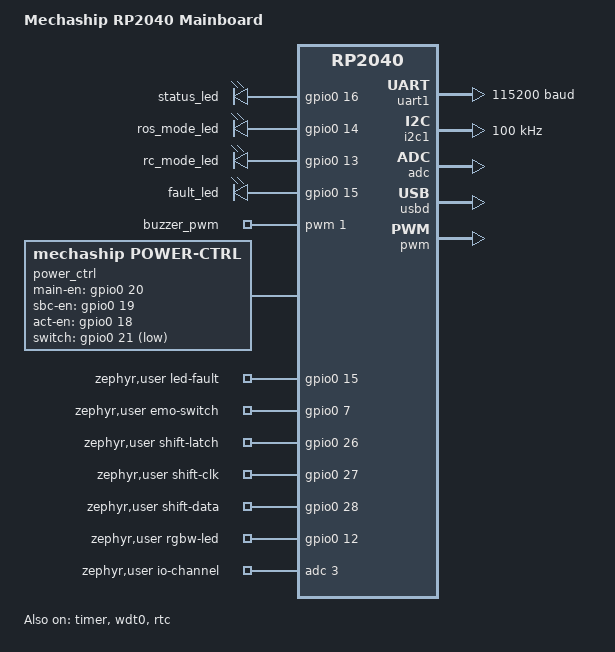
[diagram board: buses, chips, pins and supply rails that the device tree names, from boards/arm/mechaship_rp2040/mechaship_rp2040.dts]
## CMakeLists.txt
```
# Generated Cmake Pico project file

cmake_minimum_required(VERSION 3.13)

set(CMAKE_C_STANDARD 11)
set(CMAKE_CXX_STANDARD 17)
set(CMAKE_EXPORT_COMPILE_COMMANDS ON)

option(MECHASHIP_TEST_HELD_POWER_SWITCH "Ignore a held power switch during bench tests" OFF)
option(MECHASHIP_ESC_PROTECTION "Hold actuator outputs at zero during ESC startup" OFF)

# Initialise pico_sdk from installed location
# (note this can come from environment, CMake cache etc)

# == DO NOT EDIT THE FOLLOWING LINES for the Raspberry Pi Pico VS Code Extension to work ==
if(WIN32)
    set(USERHOME $ENV{USERPROFILE})
else()
    set(USERHOME $ENV{HOME})
endif()

set(sdkVersion 2.1.1)
set(toolchainVersion 14_2_Rel1)
set(picotoolVersion 2.1.1)
set(picoVscode ${USERHOME}/.pico-sdk/cmake/pico-vscode.cmake)

if(EXISTS ${picoVscode})
    include(${picoVscode})
endif()

# ====================================================================================
set(PICO_BOARD_HEADER_DIRS ${CMAKE_CURRENT_LIST_DIR}/include)
SET(PICO_BOARD mechaship_rev_2.0 CACHE STRING "Board type")
SET(CMAKE_C_FLAGS "${CMAKE_C_FLAGS} -ffunction-sections -fdata-sections")
SET(CMAKE_CXX_FLAGS "${CMAKE_CXX_FLAGS} -ffunction-sections -fdata-sections")

# Pull in Raspberry Pi Pico SDK (must be before project)
include(pico_sdk_import.cmake)
include(FreeRTOS_Kernel_import.cmake)
include(nanopb_import.cmake)

project(mechaship_fw C CXX ASM)

# Initialise the Raspberry Pi Pico SDK
pico_sdk_init()
link_directories(lib/libmicroros)

# SRC
add_subdirectory(src)

if(MECHASHIP_TEST_HELD_POWER_SWITCH)
    target_compile_definitions(mechaship_fw PRIVATE MECHASHIP_TEST_HELD_POWER_SWITCH=1)
endif()

if(MECHASHIP_ESC_PROTECTION)
    target_compile_definitions(mechaship_fw PRIVATE MECHASHIP_ESC_PROTECTION=1)
endif()

pico_set_program_name(mechaship_fw "mechaship_fw")
pico_set_program_version(mechaship_fw "0.1")

pico_enable_stdio_usb(mechaship_fw 0)
pico_enable_stdio_uart(mechaship_fw 0)
```

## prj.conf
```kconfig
# Logging (global defaults)
CONFIG_LOG=y
CONFIG_LOG_PRINTK=y
CONFIG_LOG_DEFAULT_LEVEL=3
CONFIG_LOG_PROCESS_THREAD_SLEEP_MS=50
CONFIG_REQUIRES_FLOAT_PRINTF=y

CONFIG_GPIO=y
CONFIG_I2C=y
CONFIG_ADC=y
CONFIG_PWM=y
```

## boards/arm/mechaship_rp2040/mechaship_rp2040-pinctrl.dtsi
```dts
/*
 * SPDX-License-Identifier: Apache-2.0
 */

#include <zephyr/dt-bindings/pinctrl/rpi-pico-rp2040-pinctrl.h>

&pinctrl {
	uart1_default: uart1_default {
		group1 {
			pinmux = <UART1_TX_P8>;
		};

		group2 {
			pinmux = <UART1_RX_P9>;
			input-enable;
		};
	};

	i2c1_default: i2c1_default {
		group1 {
			pinmux = <I2C1_SDA_P10>, <I2C1_SCL_P11>;
			input-enable;
			input-schmitt-enable;
		};
	};

	pwm_default: pwm_default {
		group1 {
			pinmux = <PWM_0B_P17>, <PWM_3A_P22>, <PWM_3B_P23>;
		};
	};

	adc_default: adc_default {
		group1 {
			pinmux = <ADC_CH3_P29>;
			input-enable;
		};
	};
};
```

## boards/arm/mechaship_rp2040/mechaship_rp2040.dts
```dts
/*
 * SPDX-License-Identifier: Apache-2.0
 */

/dts-v1/;

#include <freq.h>
#include <zephyr/dt-bindings/gpio/gpio.h>
#include <zephyr/dt-bindings/i2c/i2c.h>
#include <zephyr/dt-bindings/pwm/pwm.h>

#include <raspberrypi/rpi_pico/rp2040.dtsi>
#include "mechaship_rp2040-pinctrl.dtsi"

/ {
	model = "Mechaship RP2040 Mainboard";
	compatible = "mechaship,mechaship-rp2040";

	chosen {
		zephyr,sram = &sram0;
		zephyr,flash = &flash0;
		zephyr,flash-controller = &ssi;
		zephyr,console = &uart1;
		zephyr,shell-uart = &uart1;
		zephyr,code-partition = &code_partition;
	};

	aliases {
		rtc = &rtc;
		watchdog0 = &wdt0;
	};

	leds {
		compatible = "gpio-leds";

		status_led: status_led {
			gpios = <&gpio0 16 GPIO_ACTIVE_HIGH>;
		};

		ros_mode_led: ros_mode_led {
			gpios = <&gpio0 14 GPIO_ACTIVE_HIGH>;
		};

		rc_mode_led: rc_mode_led {
			gpios = <&gpio0 13 GPIO_ACTIVE_HIGH>;
		};

		fault_led: fault_led {
			gpios = <&gpio0 15 GPIO_ACTIVE_HIGH>;
		};
	};

	pwms {
		compatible = "pwm-leds";
		status = "okay";

		buzzer_pwm: buzzer_pwm {
			pwms = <&pwm 1 PWM_HZ(1000) PWM_POLARITY_NORMAL>;
		};
	};

	power_ctrl: power_ctrl {
		compatible = "mechaship,power-ctrl";
		
		main-en-gpios = <&gpio0 20 GPIO_ACTIVE_HIGH>;
		sbc-en-gpios = <&gpio0 19 GPIO_ACTIVE_HIGH>;
		act-en-gpios = <&gpio0 18 GPIO_ACTIVE_HIGH>;
		switch-gpios = <&gpio0 21 GPIO_ACTIVE_LOW>;
	};

	actuators: actuators {
		compatible = "mechaship,actuators";

		key: key {
			compatible = "mechaship,actuator-key";

			pwms = <&pwm 6 PWM_HZ(50) PWM_POLARITY_NORMAL>;
			pulse-0-degree-us = <500>;
			pulse-180-degree-us = <2500>;
		};

		thruster: thruster {
			compatible = "mechaship,actuator-thruster";

			pwms = <&pwm 7 PWM_HZ(50) PWM_POLARITY_NORMAL>;
			pulse-0-percent-us = <1500>;
			pulse-100-percent-us = <1900>;
		};
	};

	rc_4ch_receiver: rc_4ch_receiver {
		compatible = "mechaship,fs-r4p-rp2040";
		status = "okay";
		pio = <&pio1>;
		#address-cells = <1>;
		#size-cells = <0>;

		channel@0 {
			reg = <0>;
			function = "steering";
			input-gpios = <&gpio0 3 GPIO_ACTIVE_HIGH>;

			min-pulse-us = <1000>;
			mid-pulse-us = <1500>;
			max-pulse-us = <2000>;
			pulse-margin-us = <0>;
		};

		channel@1 {
			reg = <1>;
			function = "throttle";
			input-gpios = <&gpio0 4 GPIO_ACTIVE_HIGH>;

			min-pulse-us = <1000>;
			mid-pulse-us = <1500>;
			max-pulse-us = <2000>;
			pulse-margin-us = <0>;
		};

		channel@2 {
			reg = <2>;
			function = "aux1";
			input-gpios = <&gpio0 5 GPIO_ACTIVE_HIGH>;

			min-pulse-us = <1000>;
			mid-pulse-us = <1500>;
			max-pulse-us = <2000>;
			pulse-margin-us = <10>;
		};

		channel@3 {
			reg = <3>;
			function = "switch";
			input-gpios = <&gpio0 6 GPIO_ACTIVE_HIGH>;

			default-pulse-us = <1000>;
			clicked-pulse-us = <2000>;
			pulse-margin-us = <20>;
		};
	};

	zephyr,user {
		debug-uart = <&uart1>;
		debug-baudrate = <115200>;

		led-fault-gpios = <&gpio0 15 GPIO_ACTIVE_HIGH>;

		emo-switch-gpios = <&gpio0 7 GPIO_ACTIVE_HIGH>;

		shift-latch-gpios = <&gpio0 26 GPIO_ACTIVE_HIGH>;
		shift-clk-gpios = <&gpio0 27 GPIO_ACTIVE_HIGH>;
		shift-data-gpios = <&gpio0 28 GPIO_ACTIVE_HIGH>;

		lcd-i2c = <&i2c1>;
		lcd-addr = <0x27>;

		io-channels = <&adc 3>;
		battery-cell-count = <3>;
		battery-total-low-alert-mv = <9300>;
		battery-divider-milli = <4300>;

		rgbw-led-gpios = <&gpio0 12 GPIO_ACTIVE_HIGH>;
		rgbw-led-pixel-count = <9>;
	};
};

&flash0 {
	reg = <0x10000000 DT_SIZE_M(16)>;

	partitions {
		compatible = "fixed-partitions";
		#address-cells = <1>;
		#size-cells = <1>;

		second_stage_bootloader: partition@0 {
			label = "second_stage_bootloader";
			reg = <0x00000000 0x100>;
			read-only;
		};

		code_partition: partition@100 {
			label = "code-partition";
			reg = <0x100 (DT_SIZE_M(16) - 0x100)>;
			read-only;
		};
	};
};

&uart0 {
	status = "disabled";
};

&uart1 {
	current-speed = <115200>;
	status = "okay";
	pinctrl-0 = <&uart1_default>;
	pinctrl-names = "default";
};

&gpio0 {
	status = "okay";
};

&i2c0 {
	status = "disabled";
};

&i2c1 {
	clock-frequency = <I2C_BITRATE_STANDARD>;
	status = "okay";
	pinctrl-0 = <&i2c1_default>;
	pinctrl-names = "default";
};

&spi0 {
	status = "disabled";
};

&timer {
	status = "okay";
};

&wdt0 {
	status = "okay";
};

&rtc {
	clocks = <&clocks RPI_PICO_CLKID_CLK_RTC>;
	status = "okay";
};

&adc {
	status = "okay";
	pinctrl-0 = <&adc_default>;
	pinctrl-names = "default";
};

zephyr_udc0: &usbd {
	status = "okay";
};

&pwm {
	status = "okay";
	pinctrl-0 = <&pwm_default>;
	pinctrl-names = "default";
};

&vreg {
	regulator-always-on;
	regulator-allowed-modes = <REGULATOR_RPI_PICO_MODE_NORMAL>;
};

&pio1 {
	status = "okay";
};
```

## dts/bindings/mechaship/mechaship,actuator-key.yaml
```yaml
description: Mechaship key actuator configuration

compatible: "mechaship,actuator-key"

properties:
  pwms:
    type: phandle-array
    required: true
    description: PWM output used to drive the key servo.

  pulse-0-degree-us:
    type: int
    required: true
    description: Pulse width in microseconds for the key servo 0 degree position.

  pulse-180-degree-us:
    type: int
    required: true
    description: Pulse width in microseconds for the key servo 180 degree position.
```

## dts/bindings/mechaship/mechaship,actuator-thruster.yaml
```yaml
description: Mechaship thruster actuator configuration

compatible: "mechaship,actuator-thruster"

properties:
  pwms:
    type: phandle-array
    required: true
    description: PWM output used to drive the thruster ESC.

  pulse-0-percent-us:
    type: int
    required: true
    description: Pulse width in microseconds for the thruster neutral 0 percent position.

  pulse-100-percent-us:
    type: int
    required: true
    description: Pulse width in microseconds for the thruster 100 percent position.
```

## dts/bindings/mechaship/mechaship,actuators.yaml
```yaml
description: Mechaship actuator container

compatible: "mechaship,actuators"
```

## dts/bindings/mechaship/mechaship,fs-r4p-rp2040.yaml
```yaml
description: Mechaship 4-channel RC PWM receiver configuration using RP2040 PIO

compatible: "mechaship,fs-r4p-rp2040"

properties:
  pio:
    type: phandle
    required: true
    description: PIO controller used to sample the RC input channels.

child-binding:
  description: RC receiver channel configuration

  properties:
    reg:
      type: int
      required: true
      description: Logical channel index used by the receiver driver.

    function:
      type: string
      required: true
      enum:
        - throttle
        - steering
        - aux1
        - switch
      description: Semantic role assigned to this RC channel.

    input-gpios:
      type: phandle-array
      required: true
      description: GPIO input connected to this RC channel signal.

    min-pulse-us:
      type: int
      description: Minimum valid pulse width in microseconds for analog-style channels.

    mid-pulse-us:
      type: int
      description: Center pulse width in microseconds for analog-style channels.

    max-pulse-us:
      type: int
      description: Maximum valid pulse width in microseconds for analog-style channels.

    default-pulse-us:
      type: int
      description: Default pulse width in microseconds for discrete switch-style channels.

    clicked-pulse-us:
      type: int
      description: Active pulse width in microseconds for discrete switch-style channels.

    pulse-margin-us:
      type: int
      required: true
      description: Allowed pulse width tolerance in microseconds.
```

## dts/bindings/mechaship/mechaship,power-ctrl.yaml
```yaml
description: Mechaship power control GPIOs

compatible: "mechaship,power-ctrl"

properties:
  main-en-gpios:
    type: phandle-array
    required: true
    description: GPIO used to enable main power.

  sbc-en-gpios:
    type: phandle-array
    required: true
    description: GPIO used to enable SBC power.

  act-en-gpios:
    type: phandle-array
    required: true
    description: GPIO used to enable actuator power.

  switch-gpios:
    type: phandle-array
    required: true
    description: GPIO connected to the power switch input.
```

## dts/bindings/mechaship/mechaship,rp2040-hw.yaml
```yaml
description: Mechaship RP2040 hardware mapping
compatible: "mechaship,rp2040-hw"

properties:
  debug-uart:
    type: phandle
    required: true

  debug-baudrate:
    type: int
    required: true

  led-status-gpios:
    type: phandle-array
    required: true

  led-ros-mode-gpios:
    type: phandle-array
    required: true

  led-rc-mode-gpios:
    type: phandle-array
    required: true

  led-fault-gpios:
    type: phandle-array
    required: true

  emo-switch-gpios:
    type: phandle-array
    required: true

  power-main-en-gpios:
    type: phandle-array
    required: true

  power-sbc-en-gpios:
    type: phandle-array
    required: true

  power-act-en-gpios:
    type: phandle-array
    required: true

  switch-power-gpios:
    type: phandle-array
    required: true

  shift-latch-gpios:
    type: phandle-array
    required: true

  shift-clk-gpios:
    type: phandle-array
    required: true

  shift-data-gpios:
    type: phandle-array
    required: true

  lcd-i2c:
    type: phandle
    required: true

  lcd-addr:
    type: int
    required: true

  io-channels:
    type: phandle-array
    required: true

  battery-cell-count:
    type: int
    required: true

  battery-total-low-alert-mv:
    type: int
    required: true

  battery-divider-milli:
    type: int
    required: true

  piezo-pwms:
    type: phandle-array
    required: true

  servo-pwms:
    type: phandle-array
    required: true

  esc-pwms:
    type: phandle-array
    required: true

  rgbw-led-gpios:
    type: phandle-array
    required: true

  rgbw-led-pixel-count:
    type: int
    required: true

  rc-pio-id:
    type: int
    required: true

  rc-ch1-gpios:
    type: phandle-array
    required: true

  rc-ch2-gpios:
    type: phandle-array
    required: true

  rc-ch3-gpios:
    type: phandle-array
    required: true

  rc-ch4-gpios:
    type: phandle-array
    required: true

  rc-throttle-pulse-margin:
    type: int
    required: true

  rc-throttle-max-pulse:
    type: int
    required: true

  rc-throttle-min-pulse:
    type: int
    required: true

  rc-throttle-middle:
    type: int
    required: true

  rc-key-pulse-margin:
    type: int
    required: true

  rc-key-max-pulse:
    type: int
    required: true

  rc-key-min-pulse:
    type: int
    required: true

  rc-key-middle:
    type: int
    required: true

  rc-ch3-max-pulse:
    type: int
    required: true

  rc-ch3-min-pulse:
    type: int
    required: true

  rc-ch3-middle:
    type: int
    required: true

  rc-ch4-default-pulse:
    type: int
    required: true

  rc-ch4-clicked-pulse:
    type: int
    required: true
```

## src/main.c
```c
#include "app/app.h"
#include "hw/hw.h"
#include "hw/driver/power/power.h"
#include "mw/mw.h"

int main(void) {
  if (!hw_init()) return 1;

  app_start_sequence();

  if (!mw_init() || !app_init()) {
    power_set_sbc(false);
    power_set_main(false);
  }

  app_main();

  return 0;
}
```

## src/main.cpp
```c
#include <stdbool.h>
#include <stddef.h>
#include <stdlib.h>
#include <string.h>

#include <Arduino.h>
#include <HardwareSerial.h>

#include <micro_ros_platformio.h>

#include <rcl/rcl.h>
#include <rclc/executor.h>
#include <rclc/rclc.h>

#include <rmw_microros/rmw_microros.h>

// topic message
#include <sensor_msgs/msg/imu.h>
#include <sensor_msgs/msg/joint_state.h>
#include <sensor_msgs/msg/magnetic_field.h>
#include <sensor_msgs/msg/nav_sat_fix.h>
#include <std_msgs/msg/bool.h>

// service message
#include <mechaship_interfaces/srv/battery.h>
#include <mechaship_interfaces/srv/key.h>
#include <mechaship_interfaces/srv/rgb_color.h>
#include <mechaship_interfaces/srv/throttle_percentage.h>
#include <mechaship_interfaces/srv/throttle_pulse_width.h>
#include <std_srvs/srv/trigger.h>

#include "bsp/bsp.h"
#include "modules/include/modules.h"

#include "hw.h"
#include "supporter.h"

static HardwareSerial *s_serial;

static rcl_allocator_t s_allocator;
static rclc_support_t s_support;
static rclc_executor_t s_executor;

static rcl_node_t s_node;

static rcl_timer_t s_gy87_timer_h;
static rcl_timer_t s_gps_timer_get_h;
static rcl_timer_t s_gps_timer_send_h;
static rcl_timer_t s_joint_state_timer_send_h;

static rcl_publisher_t s_gy87_publisher_imu_h;        // gy87 imu(자이로+가속도)
static rcl_publisher_t s_gy87_publisher_mag_h;        // gy87 지자기
static rcl_publisher_t s_gps_publisher_h;             // gps
static rcl_publisher_t s_joint_state_publisher_key_h; // 키 joint state
static rcl_publisher_t s_emo_publisher_h;             // EMO

static std_msgs__msg__Bool s_emo_msg;

static rcl_service_t s_gy87_service_offset_calibration_h;
static std_srvs__srv__Trigger_Request s_gy87_service_offset_calibration_req;
static std_srvs__srv__Trigger_Response s_gy87_service_offset_calibration_res;

static rcl_service_t s_battery_service_get_data_h;
static mechaship_interfaces__srv__Battery_Request s_battery_service_get_data_req;
static mechaship_interfaces__srv__Battery_Response s_battery_service_get_data_res;

static rcl_service_t s_throttle_service_set_percentage_h;
static mechaship_interfaces__srv__ThrottlePercentage_Request s_throttle_service_set_percentage_req;
static mechaship_interfaces__srv__ThrottlePercentage_Response s_throttle_service_set_percentage_res;

static rcl_service_t s_throttle_service_set_pulse_width_h;
static mechaship_interfaces__srv__ThrottlePulseWidth_Request s_throttle_service_set_pulse_width_req;
static mechaship_interfaces__srv__ThrottlePulseWidth_Response s_throttle_service_set_pulse_width_res;

static rcl_service_t s_key_service_set_h;
static mechaship_interfaces__srv__Key_Request s_key_service_set_req;
static mechaship_interfaces__srv__Key_Response s_key_service_set_res;

static rcl_service_t s_rgb_service_set_h;
static mechaship_interfaces__srv__RGBColor_Request s_rgb_service_set_req;
static mechaship_interfaces__srv__RGBColor_Response s_rgb_service_set_res;

bsp_throttle_handle_t throttle_h;
bsp_key_handle_t key_h;
bsp_neopixel_handler_t neopixel_h;

UART Serial2(8, 9, NC, NC);

typedef enum {
  WAITING_AGENT,
  AGENT_AVAILABLE,
  AGENT_CONNECTED,
  AGENT_DISCONNECTED
} state_t;
static state_t s_state;

static bool s_create_entities(void) {
  s_allocator = rcl_get_default_allocator();
  RCCHECK(rclc_support_init(&s_support, 0, NULL, &s_allocator));

  size_t executor_cnt = 0;

  s_node = rcl_get_zero_initialized_node();
  rcl_node_options_t node_ops = rcl_node_get_default_options();
  node_ops.domain_id = HW_CFG_ROS_DOMAIN_ID;
  RCCHECK(rclc_node_init_with_options(&s_node, "mechaship_mcu_driver", "", &s_support, &node_ops));

  // gy87 publisher
  RCCHECK(rclc_publisher_init_best_effort(&s_gy87_publisher_imu_h, &s_node,
                                          ROSIDL_GET_MSG_TYPE_SUPPORT(sensor_msgs, msg, Imu), "imu/data_raw"));
  RCCHECK(rclc_publisher_init_best_effort(&s_gy87_publisher_mag_h, &s_node,
                                          ROSIDL_GET_MSG_TYPE_SUPPORT(sensor_msgs, msg, MagneticField), "imu/mag"));
  RCCHECK(rclc_timer_init_default(&s_gy87_timer_h, &s_support, RCL_MS_TO_NS(10), gy87_timer_callback));
  executor_cnt++;

  // gps publisher
  RCCHECK(rclc_publisher_init_best_effort(&s_gps_publisher_h, &s_node,
                                          ROSIDL_GET_MSG_TYPE_SUPPORT(sensor_msgs, msg, NavSatFix), "gps/data"));
  RCCHECK(rclc_timer_init_default(&s_gps_timer_get_h, &s_support, RCL_MS_TO_NS(100), gps_timer_get_callback));
  executor_cnt++;
  RCCHECK(rclc_timer_init_default(&s_gps_timer_send_h, &s_support, RCL_MS_TO_NS(500), gps_timer_send_callback));
  executor_cnt++;

  // joint state publisher
  RCCHECK(rclc_publisher_init_default(&s_joint_state_publisher_key_h, &s_node,
                                      ROSIDL_GET_MSG_TYPE_SUPPORT(sensor_msgs, msg, JointState), "joint_states"));
  RCCHECK(rclc_timer_init_default(&s_joint_state_timer_send_h, &s_support, RCL_MS_TO_NS(100), joint_state_timer_send_callback));
  executor_cnt++;

  // EMO publisher
  RCCHECK(rclc_publisher_init_default(&s_emo_publisher_h, &s_node,
                                      ROSIDL_GET_MSG_TYPE_SUPPORT(std_msgs, msg, Bool), "emo_event"));

  // gy87 service
  RCCHECK(rclc_service_init_default(&s_gy87_service_offset_calibration_h, &s_node,
                                    ROSIDL_GET_SRV_TYPE_SUPPORT(std_srvs, srv, Trigger), "imu/offset_calibration"));
  executor_cnt++;

  // battery service
  RCCHECK(rclc_service_init_default(&s_battery_service_get_data_h, &s_node,
                                    ROSIDL_GET_SRV_TYPE_SUPPORT(mechaship_interfaces, srv, Battery), "battery/get_data"));
  executor_cnt++;

  // throttle service
  RCCHECK(rclc_service_init_default(&s_throttle_service_set_percentage_h, &s_node,
                                    ROSIDL_GET_SRV_TYPE_SUPPORT(mechaship_interfaces, srv, ThrottlePercentage), "actuators/throttle/set_percentage"));
  executor_cnt++;
  RCCHECK(rclc_service_init_default(&s_throttle_service_set_pulse_width_h, &s_node,
                                    ROSIDL_GET_SRV_TYPE_SUPPORT(mechaship_interfaces, srv, ThrottlePulseWidth), "actuators/throttle/set_pulse_width"));
  executor_cnt++;

  // key service
  RCCHECK(rclc_service_init_default(&s_key_service_set_h, &s_node,
                                    ROSIDL_GET_SRV_TYPE_SUPPORT(mechaship_interfaces, srv, Key), "actuators/key/set"));
  executor_cnt++;

  // rgb color service
  RCCHECK(rclc_service_init_default(&s_rgb_service_set_h, &s_node,
                                    ROSIDL_GET_SRV_TYPE_SUPPORT(mechaship_interfaces, srv, RGBColor), "rgbled/set"));
  executor_cnt++;

  // excutor
  RCCHECK(rclc_executor_init(&s_executor, &s_support.context, executor_cnt, &s_allocator));
  RCCHECK(rclc_executor_add_timer(&s_executor, &s_gy87_timer_h));
  RCCHECK(rclc_executor_add_timer(&s_executor, &s_gps_timer_get_h));
  RCCHECK(rclc_executor_add_timer(&s_executor, &s_gps_timer_send_h));
  RCCHECK(rclc_executor_add_timer(&s_executor, &s_joint_state_timer_send_h));
  RCCHECK(rclc_executor_add_service(&s_executor, &s_gy87_service_offset_calibration_h,
                                    &s_gy87_service_offset_calibration_req, &s_gy87_service_offset_calibration_res,
                                    gy98_service_offset_calibration_callback));
  RCCHECK(rclc_executor_add_service(&s_executor, &s_battery_service_get_data_h,
                                    &s_battery_service_get_data_req, &s_battery_service_get_data_res,
                                    battery_service_get_data_callback));
  RCCHECK(rclc_executor_add_service(&s_executor, &s_throttle_service_set_percentage_h,
                                    &s_throttle_service_set_percentage_req, &s_throttle_service_set_percentage_res,
                                    throttle_service_set_percentage_callback));
  RCCHECK(rclc_executor_add_service(&s_executor, &s_throttle_service_set_pulse_width_h,
                                    &s_throttle_service_set_pulse_width_req, &s_throttle_service_set_pulse_width_res,
                                    throttle_service_set_pulse_width_callback));
  RCCHECK(rclc_executor_add_service(&s_executor, &s_key_service_set_h,
                                    &s_key_service_set_req, &s_key_service_set_res,
                                    key_service_set_callback));
  RCCHECK(rclc_executor_add_service(&s_executor, &s_rgb_service_set_h,
                                    &s_rgb_service_set_req, &s_rgb_service_set_res,
                                    rgb_service_set_callback));

  return true;
}

static void s_destroy_entities(void) {
  rmw_context_t *rmw_context = rcl_context_get_rmw_context(&s_support.context);
  (void)rmw_uros_set_context_entity_destroy_session_timeout(rmw_context, 0);

  // gy87 publisher
  RCCHECK(rcl_timer_fini(&s_gy87_timer_h));
  RCCHECK(rcl_publisher_fini(&s_gy87_publisher_imu_h, &s_node));
  RCCHECK(rcl_publisher_fini(&s_gy87_publisher_mag_h, &s_node));

  // gps publisher
  RCCHECK(rcl_timer_fini(&s_gps_timer_get_h));
  RCCHECK(rcl_timer_fini(&s_gps_timer_send_h));
  RCCHECK(rcl_publisher_fini(&s_gps_publisher_h, &s_node));

  // joint state publisher
  RCCHECK(rcl_timer_fini(&s_joint_state_timer_send_h));
  RCCHECK(rcl_publisher_fini(&s_joint_state_publisher_key_h, &s_node));

  // EMO publisher
  RCCHECK(rcl_publisher_fini(&s_emo_publisher_h, &s_node));

  // gy87 service
  RCCHECK(rcl_service_fini(&s_gy87_service_offset_calibration_h, &s_node));

  // battery service
  RCCHECK(rcl_service_fini(&s_battery_service_get_data_h, &s_node));

  // throttle service
  RCCHECK(rcl_service_fini(&s_throttle_service_set_percentage_h, &s_node));
  RCCHECK(rcl_service_fini(&s_throttle_service_set_pulse_width_h, &s_node));

  // key service
  RCCHECK(rcl_service_fini(&s_key_service_set_h, &s_node));

  // rgb color service
  RCCHECK(rcl_service_fini(&s_rgb_service_set_h, &s_node));

  rclc_executor_fini(&s_executor);
  RCCHECK(rcl_node_fini(&s_node));
  rclc_support_fini(&s_support);
}

static void s_monitor_status() {
  bool is_emo = digitalRead(HW_PIN_EMO);
  bool is_agent = s_state == AGENT_CONNECTED;

  static bool is_emo_last = false;
  static bool is_agent_last = true;
  static unsigned long nxt_blink_time = 0;
  static bool toggle = false;
  if (is_emo != is_emo_last || is_agent != is_agent_last) {
    if (is_emo == true && is_emo != is_emo_last) {
      HW_SERIAL_DEBUG.println("[\"s_monitor_status\"]EMO Pressed!");
      bsp_throttle_set_emo(&throttle_h);
      bsp_key_set_emo(&key_h);
      s_emo_msg.data = true;
      rcl_publish(&s_emo_publisher_h, &s_emo_msg, NULL);
    } else if (is_emo != is_emo_last) {
      HW_SERIAL_DEBUG.println("[\"s_monitor_status\"]EMO Released!");
      bsp_throttle_reset_emo(&throttle_h);
      bsp_key_reset_emo(&key_h);
      bsp_neopixel_set(&neopixel_h, 0, 0, 0, 0);
      digitalWrite(HW_PIN_STATUS_LED, HIGH);
      s_emo_msg.data = false;
      rcl_publish(&s_emo_publisher_h, &s_emo_msg, NULL);
    }
    if (is_agent == true && is_agent != is_agent_last) {
      HW_SERIAL_DEBUG.println("[\"s_monitor_status\"]Agent Connected!");
      bsp_neopixel_set(&neopixel_h, 0, 0, 0, 0);
      digitalWrite(HW_PIN_STATUS_LED, HIGH);
    } else if (is_agent != is_agent_last) {
      HW_SERIAL_DEBUG.println("[\"s_monitor_status\"]Agent Disconnected!");
    }
    nxt_blink_time = 0;
    toggle = false;
    is_emo_last = is_emo;
    is_agent_last = is_agent;
  }

  if (nxt_blink_time <= millis()) {
    if (is_emo == true) {
      bsp_neopixel_set(&neopixel_h, ((toggle = !toggle) == true) ? 255 : 0, 0, 0, 0);
      digitalWrite(HW_PIN_STATUS_LED, (toggle == true) ? HIGH : LOW);
      nxt_blink_time = millis() + 500;
      return;
    }
    if (is_agent == false) {
      bsp_neopixel_set(&neopixel_h, ((toggle = !toggle) == true) ? 255 : 0, (toggle == true) ? 100 : 0, 0, 0);
      digitalWrite(HW_PIN_STATUS_LED, (toggle == true) ? HIGH : LOW);
      nxt_blink_time = millis() + 1000;
      return;
    }
  }
  return;
}

void setup() {
  digitalWrite(HW_PIN_RESET, HIGH);

  HW_SERIAL_DEBUG.begin(115200);

  // neopixel init
  neopixel_h.pin_num = HW_PIN_NEOPIXEL;
  neopixel_h.pixel_cnt = HW_CFG_NEOPIXEL_PIXEL_CNT;
  bsp_neopixel_init(&neopixel_h);
  bsp_neopixel_set(&neopixel_h, 255, 100, 0, 0);

  // microros serial init
  HW_SERIAL_MICROROS.begin(115200);
  set_microros_serial_transports(HW_SERIAL_MICROROS);

  // gps init
  bsp_gps_config_t gps_config = {
      .serial = &HW_SERIAL_GPS,
      .baudrate = 9600,
      .pin_status_led = HW_PIN_GPS_STATUS_LED,
  };
  bsp_gps_init(&gps_config);

  // battery init
  bsp_battery_conf_t battery_conf = {
      .pin_adc = HW_PIN_BATTERY,
      .pin_20p_led = HW_PIN_BATTERY_20P_LED,
      .pin_40p_led = HW_PIN_BATTERY_40P_LED,
      .pin_60p_led = HW_PIN_BATTERY_60P_LED,
      .pin_80p_led = HW_PIN_BATTERY_80P_LED,
      .adc_resolution = 12,
      .adc_voltage_max = 3.3,
      .max_voltage = 2.9,
      .min_voltage = 2,
  };
  ERRCHECK(bsp_battery_init(&battery_conf));

  // throttle init
  throttle_h.pin_num = HW_PIN_THROTTLE;
  throttle_h.min_pwr_pulse_width = 1500;
  throttle_h.max_pwr_pulse_width = 2000;
  bsp_throttle_init(&throttle_h);
  bsp_throttle_set_by_percentage(&throttle_h, 0);

  // key init
  key_h.pin_num = HW_PIN_KEY;
  bsp_key_init(&key_h);
  bsp_key_set(&key_h, 90);

  // gy-87 init
  ERRCHECK(bsp_gy87_init());
  ERRCHECK(bsp_gy87_set_offset_auto());

  gy87_timer_callback_init(&s_gy87_publisher_imu_h, &s_gy87_publisher_mag_h);
  gps_timer_callback_init(&s_gps_publisher_h);
  joint_state_timer_callback_init(&s_joint_state_publisher_key_h, &key_h);

  pinMode(HW_PIN_STATUS_LED, OUTPUT);
  digitalWrite(HW_PIN_STATUS_LED, LOW);
  pinMode(HW_PIN_EMO, INPUT_PULLUP);

  s_state = WAITING_AGENT;

  bsp_neopixel_set(&neopixel_h, 0, 0, 0, 0);
}

void loop() {
  switch (s_state) {
  case WAITING_AGENT:
    EXECUTE_EVERY_N_MS(500, s_state = (RMW_RET_OK == rmw_uros_ping_agent(100, 1)) ? AGENT_AVAILABLE : WAITING_AGENT;);
    break;
  case AGENT_AVAILABLE:
    s_state = (true == s_create_entities()) ? AGENT_CONNECTED : WAITING_AGENT;
    if (s_state == WAITING_AGENT) {
      s_destroy_entities();
    };
    break;
  case AGENT_CONNECTED:
    EXECUTE_EVERY_N_MS(200, s_state = (RMW_RET_OK == rmw_uros_ping_agent(100, 1)) ? AGENT_CONNECTED : AGENT_DISCONNECTED;);
    if (s_state == AGENT_CONNECTED) {
      rclc_executor_spin_some(&s_executor, RCL_MS_TO_NS(100));
    }
    break;
  case AGENT_DISCONNECTED:
    s_destroy_entities();
    s_state = WAITING_AGENT;
    break;
  default:
    break;
  }

  s_monitor_status();

  EXECUTE_EVERY_N_MS(1000, bsp_battery_update_led());
}
```

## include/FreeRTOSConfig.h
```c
/*
 * FreeRTOS V202212.00
 * Copyright (C) 2020 Amazon.com, Inc. or its affiliates.  All Rights Reserved.
 *
 * Permission is hereby granted, free of charge, to any person obtaining a copy of
 * this software and associated documentation files (the "Software"), to deal in
 * the Software without restriction, including without limitation the rights to
 * use, copy, modify, merge, publish, distribute, sublicense, and/or sell copies of
 * the Software, and to permit persons to whom the Software is furnished to do so,
 * subject to the following conditions:
 *
 * The above copyright notice and this permission notice shall be included in all
 * copies or substantial portions of the Software.
 *
 * THE SOFTWARE IS PROVIDED "AS IS", WITHOUT WARRANTY OF ANY KIND, EXPRESS OR
 * IMPLIED, INCLUDING BUT NOT LIMITED TO THE WARRANTIES OF MERCHANTABILITY, FITNESS
 * FOR A PARTICULAR PURPOSE AND NONINFRINGEMENT. IN NO EVENT SHALL THE AUTHORS OR
 * COPYRIGHT HOLDERS BE LIABLE FOR ANY CLAIM, DAMAGES OR OTHER LIABILITY, WHETHER
 * IN AN ACTION OF CONTRACT, TORT OR OTHERWISE, ARISING FROM, OUT OF OR IN
 * CONNECTION WITH THE SOFTWARE OR THE USE OR OTHER DEALINGS IN THE SOFTWARE.
 *
 * https://www.FreeRTOS.org
 * https://github.com/FreeRTOS
 *
 */

#ifndef FREERTOS_CONFIG_H
#define FREERTOS_CONFIG_H

/*-----------------------------------------------------------
 * Application specific definitions.
 *
 * These definitions should be adjusted for your particular hardware and
 * application requirements.
 *
 * THESE PARAMETERS ARE DESCRIBED WITHIN THE 'CONFIGURATION' SECTION OF THE
 * FreeRTOS API DOCUMENTATION AVAILABLE ON THE FreeRTOS.org WEB SITE.
 *
 * See http://www.freertos.org/a00110.html
 *----------------------------------------------------------*/

/* Scheduler Related */
#define configUSE_PREEMPTION 1
#define configUSE_TICKLESS_IDLE 0
#define configUSE_IDLE_HOOK 0
#define configUSE_TICK_HOOK 0
#define configTICK_RATE_HZ ((TickType_t)1000)
#define configMAX_PRIORITIES 32
#define configEVENT_TASK_PRIORITIES 20
#define configIDLE_TASK_PRIORITIES 5
#define configMINIMAL_STACK_SIZE (configSTACK_DEPTH_TYPE)256
#define configUSE_16_BIT_TICKS 0

#define configIDLE_SHOULD_YIELD 1

/* Synchronization Related */
#define configUSE_MUTEXES 1
#define configUSE_RECURSIVE_MUTEXES 1
#define configUSE_APPLICATION_TASK_TAG 0
#define configUSE_COUNTING_SEMAPHORES 1
#define configQUEUE_REGISTRY_SIZE 8
#define configUSE_QUEUE_SETS 1
#define configUSE_TIME_SLICING 1
#define configUSE_NEWLIB_REENTRANT 0
#define configENABLE_BACKWARD_COMPATIBILITY 1
#define configNUM_THREAD_LOCAL_STORAGE_POINTERS 5

/* System */
#define configSTACK_DEPTH_TYPE uint32_t
#define configMESSAGE_BUFFER_LENGTH_TYPE size_t

/* Memory allocation related definitions. */
#define configSUPPORT_STATIC_ALLOCATION 1
#define configSUPPORT_DYNAMIC_ALLOCATION 0
#define configAPPLICATION_ALLOCATED_HEAP 0

/* Hook function related definitions. */
#define configCHECK_FOR_STACK_OVERFLOW 2
#define configUSE_MALLOC_FAILED_HOOK 0
#define configUSE_DAEMON_TASK_STARTUP_HOOK 0

/* Run time and task stats gathering related definitions. */
#define configGENERATE_RUN_TIME_STATS 0
#define configUSE_TRACE_FACILITY 1
#define configUSE_STATS_FORMATTING_FUNCTIONS 0

/* Software timer related definitions. */
#define configUSE_TIMERS 1
#define configTIMER_TASK_PRIORITY (configMAX_PRIORITIES - 1)
#define configTIMER_QUEUE_LENGTH 10
#define configTIMER_TASK_STACK_DEPTH 1024

/* Interrupt nesting behaviour configuration. */
/*
#define configKERNEL_INTERRUPT_PRIORITY         [dependent of processor]
#define configMAX_SYSCALL_INTERRUPT_PRIORITY    [dependent on processor and application]
#define configMAX_API_CALL_INTERRUPT_PRIORITY   [dependent on processor and application]
*/

/* RP2040 specific */
#define configSUPPORT_PICO_SYNC_INTEROP 1
#define configSUPPORT_PICO_TIME_INTEROP 1
#define configKERNEL_PROVIDED_STATIC_MEMORY 1 // #

#include <assert.h>
/* Define to trap errors during development. */
#define configASSERT(x) assert(x)

/* Set the following definitions to 1 to include the API function, or zero
to exclude the API function. */
#define INCLUDE_vTaskPrioritySet 1
#define INCLUDE_uxTaskPriorityGet 1
#define INCLUDE_vTaskDelete 1
#define INCLUDE_vTaskSuspend 1
#define INCLUDE_vTaskDelayUntil 1
#define INCLUDE_vTaskDelay 1
#define INCLUDE_xTaskGetSchedulerState 1
#define INCLUDE_xTaskGetCurrentTaskHandle 1
#define INCLUDE_uxTaskGetStackHighWaterMark 1
#define INCLUDE_xTaskGetIdleTaskHandle 1
#define INCLUDE_eTaskGetState 1
#define INCLUDE_xTimerPendFunctionCall 1
#define INCLUDE_xTaskAbortDelay 1
#define INCLUDE_xTaskGetHandle 1
#define INCLUDE_xTaskResumeFromISR 1
#define INCLUDE_xQueueGetMutexHolder 1

/* A header file that defines trace macro can be included here. */

/* SMP Related config. */
#define portSUPPORT_SMP 1
#define configNUMBER_OF_CORES 2
#define configTICK_CORE 0
#define configRUN_MULTIPLE_PRIORITIES 0
#define configUSE_CORE_AFFINITY 1
#define configUSE_PASSIVE_IDLE_HOOK 0

#endif /* FREERTOS_CONFIG_H */
```

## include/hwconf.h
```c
#ifndef SRC_HW_HWCONF
#define SRC_HW_HWCONF

#include <zephyr/device.h>
#include <zephyr/devicetree.h>
#include <zephyr/drivers/adc.h>
#include <zephyr/drivers/gpio.h>
#include <zephyr/drivers/pwm.h>

#define HWCONF_NODE DT_PATH(zephyr_user)
#define HWCONF_PIEZO_PWM_NODE DT_NODELABEL(piezo_pwm)
#define HWCONF_KEY_NODE DT_NODELABEL(key)
#define HWCONF_THRUSTER_NODE DT_NODELABEL(thruster)

#if !DT_NODE_EXISTS(HWCONF_NODE)
#error "Devicetree node '/zephyr,user' is missing"
#endif

#define HWCONF_PIN_RC_CH1 DT_GPIO_PIN(HWCONF_NODE, rc_ch1_gpios)
#define HWCONF_PIN_RC_CH2 DT_GPIO_PIN(HWCONF_NODE, rc_ch2_gpios)
#define HWCONF_PIN_RC_CH3 DT_GPIO_PIN(HWCONF_NODE, rc_ch3_gpios)
#define HWCONF_PIN_RC_CH4 DT_GPIO_PIN(HWCONF_NODE, rc_ch4_gpios)
#define HWCONF_PIN_EMO_SWITCH DT_GPIO_PIN(HWCONF_NODE, emo_switch_gpios)
#define HWCONF_PIN_RGBW_LED DT_GPIO_PIN(HWCONF_NODE, rgbw_led_gpios)
#define HWCONF_PIN_LED_RC_MODE DT_GPIO_PIN(HWCONF_NODE, led_rc_mode_gpios)
#define HWCONF_PIN_LED_ROS_MODE DT_GPIO_PIN(HWCONF_NODE, led_ros_mode_gpios)
#define HWCONF_PIN_LED_FAULT DT_GPIO_PIN(HWCONF_NODE, led_fault_gpios)
#define HWCONF_PIN_LED_STATUS DT_GPIO_PIN(HWCONF_NODE, led_status_gpios)
#define HWCONF_PIN_POWER_ACT_EN DT_GPIO_PIN(HWCONF_NODE, power_act_en_gpios)
#define HWCONF_PIN_POWER_SBC_EN DT_GPIO_PIN(HWCONF_NODE, power_sbc_en_gpios)
#define HWCONF_PIN_POWER_MAIN_EN DT_GPIO_PIN(HWCONF_NODE, power_main_en_gpios)
#define HWCONF_PIN_SWITCH_POWER DT_GPIO_PIN(HWCONF_NODE, switch_power_gpios)
#define HWCONF_PIN_SHIFT_LATCH DT_GPIO_PIN(HWCONF_NODE, shift_latch_gpios)
#define HWCONF_PIN_SHIFT_CLK DT_GPIO_PIN(HWCONF_NODE, shift_clk_gpios)
#define HWCONF_PIN_SHIFT_DATA DT_GPIO_PIN(HWCONF_NODE, shift_data_gpios)
#define HWCONF_PIN_VOLTAGE_BATTERY 29

#define HWCONF_SERIAL_DEBUG_BAUDRATE DT_PROP(HWCONF_NODE, debug_baudrate)

#define HWCONF_BATTERY_CELL_CNT DT_PROP(HWCONF_NODE, battery_cell_count)
#define HWCONF_BATTERY_TOTAL_LOW_ALERT_VOLTAGE ((float)DT_PROP(HWCONF_NODE, battery_total_low_alert_mv) / 1000.0f)
#define HWCONF_BATTERY_VOLTAGE_DEVIDER ((float)DT_PROP(HWCONF_NODE, battery_divider_milli) / 1000.0f)

#define HWCONF_RGBW_LED_PIXEL_CNT DT_PROP(HWCONF_NODE, rgbw_led_pixel_count)

#define HWCONF_RC_PIO_ID DT_PROP(HWCONF_NODE, rc_pio_id)
#define HWCONF_RC_THROTTLE_PULSE_MARGIN DT_PROP(HWCONF_NODE, rc_throttle_pulse_margin)
#define HWCONF_RC_THROTTLE_MAX_PULSE DT_PROP(HWCONF_NODE, rc_throttle_max_pulse)
#define HWCONF_RC_THROTTLE_MIN_PULSE DT_PROP(HWCONF_NODE, rc_throttle_min_pulse)
#define HWCONF_RC_THROTTLE_MIDDLE DT_PROP(HWCONF_NODE, rc_throttle_middle)

#define HWCONF_RC_KEY_PULSE_MARGIN DT_PROP(HWCONF_NODE, rc_key_pulse_margin)
#define HWCONF_RC_KEY_MAX_PULSE DT_PROP(HWCONF_NODE, rc_key_max_pulse)
#define HWCONF_RC_KEY_MIN_PULSE DT_PROP(HWCONF_NODE, rc_key_min_pulse)
#define HWCONF_RC_KEY_MIDDLE DT_PROP(HWCONF_NODE, rc_key_middle)

#define HWCONF_RC_CH3_MAX_PULSE DT_PROP(HWCONF_NODE, rc_ch3_max_pulse)
#define HWCONF_RC_CH3_MIN_PULSE DT_PROP(HWCONF_NODE, rc_ch3_min_pulse)
#define HWCONF_RC_CH3_MIDDLE DT_PROP(HWCONF_NODE, rc_ch3_middle)

#define HWCONF_RC_CH4_DEFAULT_PULSE DT_PROP(HWCONF_NODE, rc_ch4_default_pulse)
#define HWCONF_RC_CH4_CLICKED_PULSE DT_PROP(HWCONF_NODE, rc_ch4_clicked_pulse)

#define HWCONF_LED_STATUS_SPEC GPIO_DT_SPEC_GET(HWCONF_NODE, led_status_gpios)
#define HWCONF_LED_ROS_MODE_SPEC GPIO_DT_SPEC_GET(HWCONF_NODE, led_ros_mode_gpios)
#define HWCONF_LED_RC_MODE_SPEC GPIO_DT_SPEC_GET(HWCONF_NODE, led_rc_mode_gpios)
#define HWCONF_LED_FAULT_SPEC GPIO_DT_SPEC_GET(HWCONF_NODE, led_fault_gpios)

#define HWCONF_EMO_SWITCH_SPEC GPIO_DT_SPEC_GET(HWCONF_NODE, emo_switch_gpios)

#define HWCONF_POWER_MAIN_EN_SPEC GPIO_DT_SPEC_GET(HWCONF_NODE, power_main_en_gpios)
#define HWCONF_POWER_SBC_EN_SPEC GPIO_DT_SPEC_GET(HWCONF_NODE, power_sbc_en_gpios)
#define HWCONF_POWER_ACT_EN_SPEC GPIO_DT_SPEC_GET(HWCONF_NODE, power_act_en_gpios)
#define HWCONF_POWER_SWITCH_SPEC GPIO_DT_SPEC_GET(HWCONF_NODE, switch_power_gpios)

#define HWCONF_SHIFT_LATCH_SPEC GPIO_DT_SPEC_GET(HWCONF_NODE, shift_latch_gpios)
#define HWCONF_SHIFT_CLK_SPEC GPIO_DT_SPEC_GET(HWCONF_NODE, shift_clk_gpios)
#define HWCONF_SHIFT_DATA_SPEC GPIO_DT_SPEC_GET(HWCONF_NODE, shift_data_gpios)

#define HWCONF_PIEZO_PWM_SPEC PWM_DT_SPEC_GET(HWCONF_PIEZO_PWM_NODE)
#define HWCONF_KEY_PWM_SPEC PWM_DT_SPEC_GET(HWCONF_KEY_NODE)
#define HWCONF_THRUSTER_PWM_SPEC PWM_DT_SPEC_GET(HWCONF_THRUSTER_NODE)

#define HWCONF_KEY_PULSE_0_DEGREE DT_PROP(HWCONF_KEY_NODE, pulse_0_degree_us)
#define HWCONF_KEY_PULSE_180_DEGREE DT_PROP(HWCONF_KEY_NODE, pulse_180_degree_us)

#define HWCONF_THRUSTER_PULSE_0_PERCENT DT_PROP(HWCONF_THRUSTER_NODE, pulse_0_percent_us)
#define HWCONF_THRUSTER_PULSE_100_PERCENT DT_PROP(HWCONF_THRUSTER_NODE, pulse_100_percent_us)

#define HWCONF_BATTERY_ADC_SPEC ADC_DT_SPEC_GET_BY_IDX(HWCONF_NODE, 0)

#endif /* SRC_HW_HWCONF */
```

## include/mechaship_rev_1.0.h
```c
#ifndef C95E6B2C_8744_488C_BBB0_8EC5F75A1F81_H_
#define C95E6B2C_8744_488C_BBB0_8EC5F75A1F81_H_

// For board detection
#define MECHASHIP_REV_1_0

// On some samples, the xosc can take longer to stabilize than is usual
#ifndef PICO_XOSC_STARTUP_DELAY_MULTIPLIER
#define PICO_XOSC_STARTUP_DELAY_MULTIPLIER 64
#endif

// --- UART ---
#ifndef PICO_DEFAULT_UART
#define PICO_DEFAULT_UART 0
#endif
#ifndef PICO_DEFAULT_UART_TX_PIN
#define PICO_DEFAULT_UART_TX_PIN 0
#endif
#ifndef PICO_DEFAULT_UART_RX_PIN
#define PICO_DEFAULT_UART_RX_PIN 1
#endif

// --- FLASH ---
#define PICO_BOOT_STAGE2_CHOOSE_W25Q080 1

#ifndef PICO_FLASH_SPI_CLKDIV
#define PICO_FLASH_SPI_CLKDIV 2
#endif

#ifndef PICO_FLASH_SIZE_BYTES
#define PICO_FLASH_SIZE_BYTES (16 * 1024 * 1024)
#endif

// All boards have B1 RP2040
#ifndef PICO_RP2040_B0_SUPPORTED
#define PICO_RP2040_B0_SUPPORTED 0
#endif

#include "hwconf.h"

#endif /* C95E6B2C_8744_488C_BBB0_8EC5F75A1F81_H_ */
```

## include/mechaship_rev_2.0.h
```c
#ifndef C95E6B2C_8744_488C_BBB0_8EC5F75A1F81_H_
#define C95E6B2C_8744_488C_BBB0_8EC5F75A1F81_H_

// For board detection
#define MECHASHIP_REV_2_0

// On some samples, the xosc can take longer to stabilize than is usual
#ifndef PICO_XOSC_STARTUP_DELAY_MULTIPLIER
#define PICO_XOSC_STARTUP_DELAY_MULTIPLIER 64
#endif

// --- UART ---
#ifndef PICO_DEFAULT_UART
#define PICO_DEFAULT_UART 0
#endif
#ifndef PICO_DEFAULT_UART_TX_PIN
#define PICO_DEFAULT_UART_TX_PIN 0
#endif
#ifndef PICO_DEFAULT_UART_RX_PIN
#define PICO_DEFAULT_UART_RX_PIN 1
#endif

// --- FLASH ---
#define PICO_BOOT_STAGE2_CHOOSE_W25Q080 1

#ifndef PICO_FLASH_SPI_CLKDIV
#define PICO_FLASH_SPI_CLKDIV 2
#endif

#ifndef PICO_FLASH_SIZE_BYTES
#define PICO_FLASH_SIZE_BYTES (16 * 1024 * 1024)
#endif

// All boards have B1 RP2040
#ifndef PICO_RP2040_B0_SUPPORTED
#define PICO_RP2040_B0_SUPPORTED 0
#endif

#include "hwconf.h"

#endif /* C95E6B2C_8744_488C_BBB0_8EC5F75A1F81_H_ */
```

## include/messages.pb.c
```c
/* Automatically generated nanopb constant definitions */
/* Generated by nanopb-0.4.9.1 */

#include "include/messages.pb.h"
#if PB_PROTO_HEADER_VERSION != 40
#error Regenerate this file with the current version of nanopb generator.
#endif

PB_BIND(mechaship_sbc_SbcMessage, mechaship_sbc_SbcMessage, AUTO)


PB_BIND(mechaship_sbc_IpInfo, mechaship_sbc_IpInfo, AUTO)


PB_BIND(mechaship_sbc_HwInfo, mechaship_sbc_HwInfo, AUTO)


PB_BIND(mechaship_sbc_PowerOff, mechaship_sbc_PowerOff, AUTO)


PB_BIND(mechaship_sbc_NetworkInfo, mechaship_sbc_NetworkInfo, AUTO)


PB_BIND(mechaship_sbc_PingResponse, mechaship_sbc_PingResponse, AUTO)
```

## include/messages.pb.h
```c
/* Automatically generated nanopb header */
/* Generated by nanopb-0.4.9.1 */

#ifndef PB_MECHASHIP_SBC_INCLUDE_MESSAGES_PB_H_INCLUDED
#define PB_MECHASHIP_SBC_INCLUDE_MESSAGES_PB_H_INCLUDED
#include <pb.h>

#if PB_PROTO_HEADER_VERSION != 40
#error Regenerate this file with the current version of nanopb generator.
#endif

/* Enum definitions */
/* 명령 종류 (C의 command 번호를 그대로 사용해도 되고, 새로운 enum 정의도 가능) */
typedef enum _mechaship_sbc_CommandType {
    mechaship_sbc_CommandType_COMMAND_NONE = 0,
    mechaship_sbc_CommandType_COMMAND_IP = 1,
    mechaship_sbc_CommandType_COMMAND_SEND_HW_INFO = 2, /* IN */
    mechaship_sbc_CommandType_COMMAND_POWER_OFF = 3, /* PO */
    mechaship_sbc_CommandType_COMMAND_NETWORK_INFO = 4, /* IW */
    mechaship_sbc_CommandType_COMMAND_PING_RESPONSE = 5 /* PG */
} mechaship_sbc_CommandType;

typedef enum _mechaship_sbc_NetworkType {
    mechaship_sbc_NetworkType_NETWORK_NONE = 0,
    mechaship_sbc_NetworkType_NETWORK_WLAN = 1,
    mechaship_sbc_NetworkType_NETWORK_LAN = 2
} mechaship_sbc_NetworkType;

/* Struct definitions */
/* IP 보고: 기존 C는 "x.x.x.x" 를 4바이트 uint32 로 만들고 있음 */
typedef struct _mechaship_sbc_IpInfo {
    uint32_t ipv4; /* host byte order or network byte order는 구현에서 합의 */
} mechaship_sbc_IpInfo;

/* IN */
typedef struct _mechaship_sbc_HwInfo {
    pb_callback_t date;
    pb_callback_t time;
    pb_callback_t git_commit;
} mechaship_sbc_HwInfo;

/* PO */
typedef struct _mechaship_sbc_PowerOff { /* no field (필요시 reason 등 추가 가능) */
    char dummy_field;
} mechaship_sbc_PowerOff;

/* IW */
typedef struct _mechaship_sbc_NetworkInfo {
    mechaship_sbc_NetworkType type;
    pb_callback_t ssid;
    int32_t rssi;
    uint32_t frequency;
} mechaship_sbc_NetworkInfo;

/* PG */
typedef struct _mechaship_sbc_PingResponse {
    float ping_ms;
} mechaship_sbc_PingResponse;

/* 공통적으로 들어오는 SBC 메시지 */
typedef struct _mechaship_sbc_SbcMessage {
    mechaship_sbc_CommandType type;
    /* 각 타입별 payload */
    bool has_ip_info;
    mechaship_sbc_IpInfo ip_info;
    bool has_hw_info;
    mechaship_sbc_HwInfo hw_info;
    bool has_power_off;
    mechaship_sbc_PowerOff power_off;
    bool has_network_info;
    mechaship_sbc_NetworkInfo network_info;
    bool has_ping_response;
    mechaship_sbc_PingResponse ping_response;
} mechaship_sbc_SbcMessage;


#ifdef __cplusplus
extern "C" {
#endif

/* Helper constants for enums */
#define _mechaship_sbc_CommandType_MIN mechaship_sbc_CommandType_COMMAND_NONE
#define _mechaship_sbc_CommandType_MAX mechaship_sbc_CommandType_COMMAND_PING_RESPONSE
#define _mechaship_sbc_CommandType_ARRAYSIZE ((mechaship_sbc_CommandType)(mechaship_sbc_CommandType_COMMAND_PING_RESPONSE+1))

#define _mechaship_sbc_NetworkType_MIN mechaship_sbc_NetworkType_NETWORK_NONE
#define _mechaship_sbc_NetworkType_MAX mechaship_sbc_NetworkType_NETWORK_LAN
#define _mechaship_sbc_NetworkType_ARRAYSIZE ((mechaship_sbc_NetworkType)(mechaship_sbc_NetworkType_NETWORK_LAN+1))

#define mechaship_sbc_SbcMessage_type_ENUMTYPE mechaship_sbc_CommandType




#define mechaship_sbc_NetworkInfo_type_ENUMTYPE mechaship_sbc_NetworkType



/* Initializer values for message structs */
#define mechaship_sbc_SbcMessage_init_default    {_mechaship_sbc_CommandType_MIN, false, mechaship_sbc_IpInfo_init_default, false, mechaship_sbc_HwInfo_init_default, false, mechaship_sbc_PowerOff_init_default, false, mechaship_sbc_NetworkInfo_init_default, false, mechaship_sbc_PingResponse_init_default}
#define mechaship_sbc_IpInfo_init_default        {0}
#define mechaship_sbc_HwInfo_init_default        {{{NULL}, NULL}, {{NULL}, NULL}, {{NULL}, NULL}}
#define mechaship_sbc_PowerOff_init_default      {0}
#define mechaship_sbc_NetworkInfo_init_default   {_mechaship_sbc_NetworkType_MIN, {{NULL}, NULL}, 0, 0}
#define mechaship_sbc_PingResponse_init_default  {0}
#define mechaship_sbc_SbcMessage_init_zero       {_mechaship_sbc_CommandType_MIN, false, mechaship_sbc_IpInfo_init_zero, false, mechaship_sbc_HwInfo_init_zero, false, mechaship_sbc_PowerOff_init_zero, false, mechaship_sbc_NetworkInfo_init_zero, false, mechaship_sbc_PingResponse_init_zero}
#define mechaship_sbc_IpInfo_init_zero           {0}
#define mechaship_sbc_HwInfo_init_zero           {{{NULL}, NULL}, {{NULL}, NULL}, {{NULL}, NULL}}
#define mechaship_sbc_PowerOff_init_zero         {0}
#define mechaship_sbc_NetworkInfo_init_zero      {_mechaship_sbc_NetworkType_MIN, {{NULL}, NULL}, 0, 0}
#define mechaship_sbc_PingResponse_init_zero     {0}

/* Field tags (for use in manual encoding/decoding) */
#define mechaship_sbc_IpInfo_ipv4_tag            1
#define mechaship_sbc_HwInfo_date_tag            1
#define mechaship_sbc_HwInfo_time_tag            2
#define mechaship_sbc_HwInfo_git_commit_tag      3
#define mechaship_sbc_NetworkInfo_type_tag       1
#define mechaship_sbc_NetworkInfo_ssid_tag       2
#define mechaship_sbc_NetworkInfo_rssi_tag       3
#define mechaship_sbc_NetworkInfo_frequency_tag  4
#define mechaship_sbc_PingResponse_ping_ms_tag   1
#define mechaship_sbc_SbcMessage_type_tag        1
#define mechaship_sbc_SbcMessage_ip_info_tag     2
#define mechaship_sbc_SbcMessage_hw_info_tag     3
#define mechaship_sbc_SbcMessage_power_off_tag   4
#define mechaship_sbc_SbcMessage_network_info_tag 5
#define mechaship_sbc_SbcMessage_ping_response_tag 6

/* Struct field encoding specification for nanopb */
#define mechaship_sbc_SbcMessage_FIELDLIST(X, a) \
X(a, STATIC,   SINGULAR, UENUM,    type,              1) \
X(a, STATIC,   OPTIONAL, MESSAGE,  ip_info,           2) \
X(a, STATIC,   OPTIONAL, MESSAGE,  hw_info,           3) \
X(a, STATIC,   OPTIONAL, MESSAGE,  power_off,         4) \
X(a, STATIC,   OPTIONAL, MESSAGE,  network_info,      5) \
X(a, STATIC,   OPTIONAL, MESSAGE,  ping_response,     6)
#define mechaship_sbc_SbcMessage_CALLBACK NULL
#define mechaship_sbc_SbcMessage_DEFAULT NULL
#define mechaship_sbc_SbcMessage_ip_info_MSGTYPE mechaship_sbc_IpInfo
#define mechaship_sbc_SbcMessage_hw_info_MSGTYPE mechaship_sbc_HwInfo
#define mechaship_sbc_SbcMessage_power_off_MSGTYPE mechaship_sbc_PowerOff
#define mechaship_sbc_SbcMessage_network_info_MSGTYPE mechaship_sbc_NetworkInfo
#define mechaship_sbc_SbcMessage_ping_response_MSGTYPE mechaship_sbc_PingResponse

#define mechaship_sbc_IpInfo_FIELDLIST(X, a) \
X(a, STATIC,   SINGULAR, UINT32,   ipv4,              1)
#define mechaship_sbc_IpInfo_CALLBACK NULL
#define mechaship_sbc_IpInfo_DEFAULT NULL

#define mechaship_sbc_HwInfo_FIELDLIST(X, a) \
X(a, CALLBACK, SINGULAR, STRING,   date,              1) \
X(a, CALLBACK, SINGULAR, STRING,   time,              2) \
X(a, CALLBACK, SINGULAR, STRING,   git_commit,        3)
#define mechaship_sbc_HwInfo_CALLBACK pb_default_field_callback
#define mechaship_sbc_HwInfo_DEFAULT NULL

#define mechaship_sbc_PowerOff_FIELDLIST(X, a) \

#define mechaship_sbc_PowerOff_CALLBACK NULL
#define mechaship_sbc_PowerOff_DEFAULT NULL

#define mechaship_sbc_NetworkInfo_FIELDLIST(X, a) \
X(a, STATIC,   SINGULAR, UENUM,    type,              1) \
X(a, CALLBACK, SINGULAR, STRING,   ssid,              2) \
X(a, STATIC,   SINGULAR, INT32,    rssi,              3) \
X(a, STATIC,   SINGULAR, UINT32,   frequency,         4)
#define mechaship_sbc_NetworkInfo_CALLBACK pb_default_field_callback
#define mechaship_sbc_NetworkInfo_DEFAULT NULL

#define mechaship_sbc_PingResponse_FIELDLIST(X, a) \
X(a, STATIC,   SINGULAR, FLOAT,    ping_ms,           1)
#define mechaship_sbc_PingResponse_CALLBACK NULL
#define mechaship_sbc_PingResponse_DEFAULT NULL

extern const pb_msgdesc_t mechaship_sbc_SbcMessage_msg;
extern const pb_msgdesc_t mechaship_sbc_IpInfo_msg;
extern const pb_msgdesc_t mechaship_sbc_HwInfo_msg;
extern const pb_msgdesc_t mechaship_sbc_PowerOff_msg;
extern const pb_msgdesc_t mechaship_sbc_NetworkInfo_msg;
extern const pb_msgdesc_t mechaship_sbc_PingResponse_msg;

/* Defines for backwards compatibility with code written before nanopb-0.4.0 */
#define mechaship_sbc_SbcMessage_fields &mechaship_sbc_SbcMessage_msg
#define mechaship_sbc_IpInfo_fields &mechaship_sbc_IpInfo_msg
#define mechaship_sbc_HwInfo_fields &mechaship_sbc_HwInfo_msg
#define mechaship_sbc_PowerOff_fields &mechaship_sbc_PowerOff_msg
#define mechaship_sbc_NetworkInfo_fields &mechaship_sbc_NetworkInfo_msg
#define mechaship_sbc_PingResponse_fields &mechaship_sbc_PingResponse_msg

/* Maximum encoded size of messages (where known) */
/* mechaship_sbc_SbcMessage_size depends on runtime parameters */
/* mechaship_sbc_HwInfo_size depends on runtime parameters */
/* mechaship_sbc_NetworkInfo_size depends on runtime parameters */
#define MECHASHIP_SBC_INCLUDE_MESSAGES_PB_H_MAX_SIZE mechaship_sbc_IpInfo_size
#define mechaship_sbc_IpInfo_size                6
#define mechaship_sbc_PingResponse_size          5
#define mechaship_sbc_PowerOff_size              0

#ifdef __cplusplus
} /* extern "C" */
#endif

#endif
```
